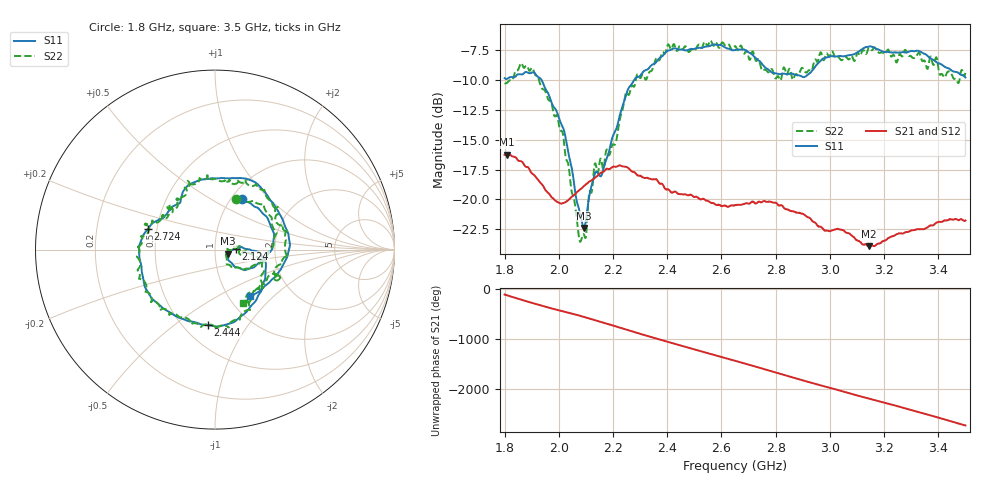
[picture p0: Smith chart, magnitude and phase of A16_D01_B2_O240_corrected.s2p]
! Created with skrf 1.9.0 (http://scikit-rf.org).
# Hz S RI R 50.0
!freq ReS11 ImS11 ReS21 ImS21 ReS12 ImS12 ReS22 ImS22
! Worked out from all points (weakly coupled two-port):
!   1601 points, 1.8 GHz to 3.5 GHz, reference 50 ohm
!   highest |S21| = -16.25 dB at 1.81 GHz (marker M1); lowest = -23.9 dB at 3.144 GHz (marker M2)
!   lowest |S11| = -22.4 dB at 2.092 GHz (marker M3), VSWR 1.16, Z = 57.7 - j2.69 ohm
!   |S11| at or under -10 dB: 1.936 GHz to 2.278 GHz (342.3 MHz wide, 16.2 % of centre)
!   |S22| runs from -23.5 to -6.7 dB; largest |S21 - S12| = 0.0031
!   S11 on the Smith chart (normalised r, x): 1.8 GHz: 1.12, +0.71; 2.124 GHz: 1.27, +0.01; 2.444 GHz: 0.65, -0.67; 2.724 GHz: 0.45, +0.12; 3.5 GHz: 1.25, -0.72
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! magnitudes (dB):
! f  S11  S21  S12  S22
! 1.8 GHz  -9.9  -16.3  -16.3  -10.3
! 1.81 GHz  -9.9  -16.2  -16.3  -10.2
! 1.901 GHz  -9.4  -17.8  -17.8  -9.0
! 1.969 GHz  -11.6  -19.7  -19.7  -11.7
! 2.02 GHz  -14.3  -20.3  -20.3  -15.4
! 2.084 GHz  -21.7  -19.1  -19.0  -23.3
! 2.092 GHz  -22.4  -18.9  -19.0  -22.9
! 2.124 GHz  -18.6  -18.4  -18.3  -18.9
! 2.16 GHz  -17.8  -17.7  -17.7  -17.2
! 2.208 GHz  -14.3  -17.3  -17.2  -15.4
! 2.259 GHz  -10.6  -17.4  -17.4  -11.2
! 2.367 GHz  -8.3  -18.5  -18.5  -8.4
! 2.444 GHz  -7.5  -19.5  -19.6  -7.2
! 2.65 GHz  -7.5  -20.5  -20.5  -7.2
! 2.724 GHz  -8.1  -20.3  -20.3  -8.3
! 2.812 GHz  -9.5  -20.5  -20.4  -9.8
! 2.934 GHz  -9.3  -21.8  -21.7  -9.2
! 3.144 GHz  -7.2  -23.9  -23.8  -7.3
! 3.217 GHz  -7.7  -23.2  -23.2  -7.6
! 3.328 GHz  -7.6  -22.5  -22.5  -7.7
! 3.416 GHz  -8.8  -21.8  -21.8  -9.6
! 3.5 GHz  -9.8  -21.8  -21.7  -9.4
